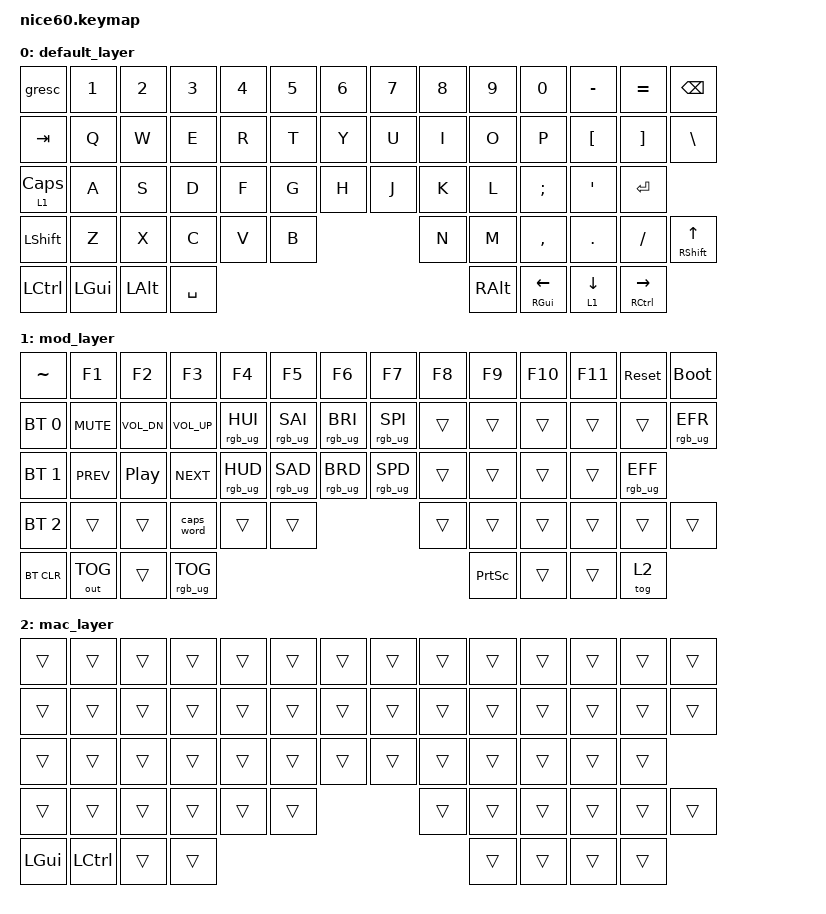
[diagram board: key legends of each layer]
/*
 * Copyright (c) 2021 Nick Winans
 * Fork by Marcos Muller
 * SPDX-License-Identifier: MIT
 */

#include <behaviors.dtsi>
#include <dt-bindings/zmk/keys.h>
#include <dt-bindings/zmk/rgb.h>
#include <dt-bindings/zmk/bt.h>
#include <dt-bindings/zmk/outputs.h>
#include <dt-bindings/zmk/reset.h>
#include <dt-bindings/zmk/ext_power.h>

#define DEFAULT 0
#define MOD   1
#define MAC   2

&mt {
  tapping-term-ms = <160>;
};

&lt {
  tapping-term-ms = <160>;
};

/ {
	/* Key Combos for Fast Shortcuts */
	combos {
		compatible = "zmk,combos";

		/* Tap J and K simultaneously to trigger ESCAPE */
		combo_esc {
			timeout-ms = <50>;
			key-positions = <35 36>; 
			bindings = <&kp ESC>;
		};

		/* Tap Caps Lock + Backspace simultaneously to enter Bootloader mode */
		combo_bootloader {
			timeout-ms = <50>;
			key-positions = <28 13>;
			bindings = <&bootloader>;
		};
	};

	keymap {
		compatible = "zmk,keymap";
		
		default_layer {
// ------------------------------------------------------------------------------------------
// | ESC |  1  |  2  |  3  |  4  |  5  |  6  |  7  |  8  |  9  |  0  |  -  |  =  |    BKSP   |
// | TAB  |  Q  |  W  |  E  |  R  |  T  |  Y  |  U  |  I  |  O  |  P  |  [  |  ]  |    "|"    |
// | CAPS  |  A  |  S  |  D  |  F  |  G  |  H  |  J  |  K  |  L  |  ;  |  '  |     ENTER    |
// |  SHIFT  |  Z  |  X  |  C  |  V  |  B  |  N  |  M  |  ,  |  .  |  /  |      SHIFT       |
// |  CTL  |  WIN  |  ALT  |         SPACE            |  ALT  |  WIN  |  DOWN(MO1) |  CTL  |
// ------------------------------------------------------------------------------------------
			bindings = <
	&gresc   &kp N1 &kp N2 &kp N3 &kp N4 &kp N5 &kp N6 &kp N7 &kp N8 &kp N9 &kp N0 &kp MINUS &kp EQUAL  &kp BSPC
	&kp TAB  &kp Q  &kp W  &kp E  &kp R  &kp T  &kp Y  &kp U  &kp I  &kp O  &kp P  &kp LBKT  &kp RBKT  &kp BSLH
	&lt 1 CLCK  &kp A  &kp S  &kp D  &kp F  &kp G  &kp H  &kp J  &kp K  &kp L  &kp SEMI &kp SQT           &kp RET
	&kp LSHFT   &kp Z  &kp X  &kp C  &kp V  &kp B  &kp N  &kp M  &kp COMMA &kp DOT &kp FSLH           &mt RSHFT UP
	&kp LCTRL &kp LGUI &kp LALT              &kp SPACE                      &kp RALT  &mt RGUI LEFT  &lt 1 DOWN  &mt RCTRL RIGHT
			>;
		};

		mod_layer {
// ------------------------------------------------------------------------------------------------
// | ~   | F1  | F2  | F3  | F4  | F5  | F6  | F7  | F8  | F9  | F10  | F11 | RESET | BOOTLOADER |
// |  BT 1   | MUTE|VOLDN|VOLUP| HUEUP | SATUP | BRIUP | SPDUP |   |     |    |     |     | EFFECT REV |
// |   BT 2   | PREV |  PP  | NXT | HUEDN | SATDN | BRIDN | SPDDN |  |   |   |     |  EFFECT FORW |
// |    BT 3   |     |     |CAPSWORD|    |     |      |     |      |      |     |                 |
// |   BT CLR  |OUT_TOG|   |             TOG RGB                 | PRT SCR |      |        | TOG2 |
// ------------------------------------------------------------------------------------------------
			bindings = <
	&kp TILDE   &kp F1        &kp F2        &kp F3        &kp F4           &kp F5          &kp F6          &kp F7          &kp F8   &kp F9   &kp F10  &kp F11 &sys_reset       &bootloader
	&bt BT_SEL 0  &kp C_MUTE  &kp C_VOL_DN  &kp C_VOL_UP  &rgb_ug RGB_HUI  &rgb_ug RGB_SAI &rgb_ug RGB_BRI &rgb_ug RGB_SPI  &trans   &trans   &trans   &trans  &trans           &rgb_ug RGB_EFR
	&bt BT_SEL 1   &kp C_PREV &kp C_PP      &kp C_NEXT    &rgb_ug RGB_HUD  &rgb_ug RGB_SAD &rgb_ug RGB_BRD &rgb_ug RGB_SPD  &trans   &trans   &trans   &trans         &rgb_ug RGB_EFF
	&bt BT_SEL 2    &trans    &trans        &caps_word    &trans           &trans   &trans          &trans          &trans   &trans   &trans                           &trans
	&bt BT_CLR  &out OUT_TOG  &trans                                   &rgb_ug RGB_TOG                                     &kp PSCRN      &trans   &trans             &tog 2
			>;
		};
		
		mac_layer {
			bindings = <
	&trans   &trans     &trans    &trans   &trans    &trans    &trans    &trans    &trans    &trans    &trans    &trans    &trans     &trans    
	&trans   &trans     &trans    &trans   &trans    &trans    &trans    &trans    &trans    &trans    &trans    &trans    &trans     &trans 
	&trans   &trans     &trans    &trans   &trans    &trans    &trans    &trans    &trans    &trans    &trans    &trans    &trans     
	&trans   &trans     &trans    &trans   &trans    &trans    &trans    &trans    &trans    &trans    &trans    &trans
	&kp LGUI  &kp LCTRL &trans              &trans              &trans    &trans    &trans    &trans     
			>;
		};
	};
};
